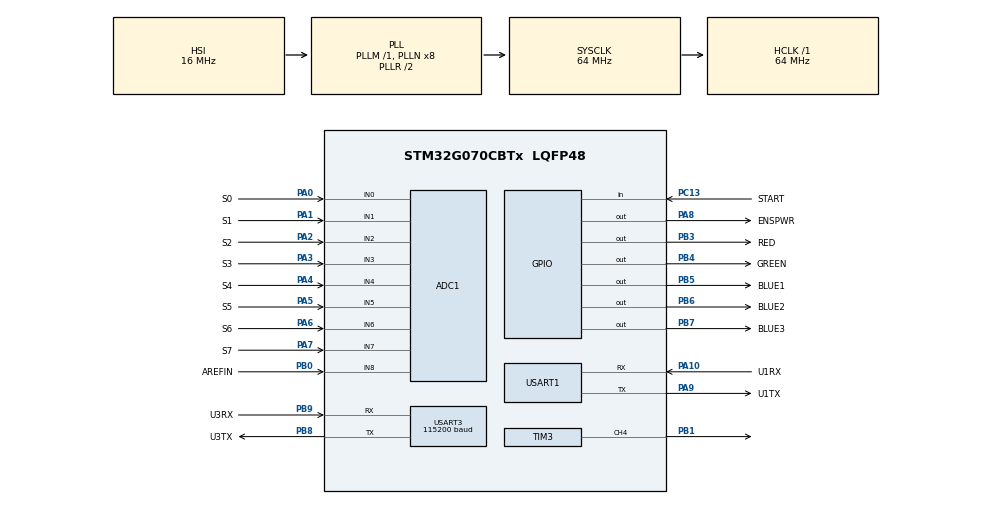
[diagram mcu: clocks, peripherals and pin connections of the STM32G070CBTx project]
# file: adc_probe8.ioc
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ADC1.Channel-0\#ChannelRegularConversion=ADC_CHANNEL_0
ADC1.Channel-1\#ChannelRegularConversion=ADC_CHANNEL_1
ADC1.Channel-2\#ChannelRegularConversion=ADC_CHANNEL_2
ADC1.Channel-3\#ChannelRegularConversion=ADC_CHANNEL_3
ADC1.Channel-4\#ChannelRegularConversion=ADC_CHANNEL_4
ADC1.Channel-5\#ChannelRegularConversion=ADC_CHANNEL_5
ADC1.Channel-6\#ChannelRegularConversion=ADC_CHANNEL_6
ADC1.Channel-7\#ChannelRegularConversion=ADC_CHANNEL_7
ADC1.ClockPrescaler=ADC_CLOCK_ASYNC_DIV4
ADC1.ContinuousConvMode=DISABLE
ADC1.DiscontinuousConvMode=DISABLE
ADC1.EOCSelection=ADC_EOC_SEQ_CONV
ADC1.NbrOfConversion=8
ADC1.NbrOfConversionFlag=1
ADC1.Overrun=ADC_OVR_DATA_PRESERVED
ADC1.Rank-0\#ChannelRegularConversion=1
ADC1.Rank-1\#ChannelRegularConversion=2
ADC1.Rank-2\#ChannelRegularConversion=3
ADC1.Rank-3\#ChannelRegularConversion=4
ADC1.Rank-4\#ChannelRegularConversion=5
ADC1.Rank-5\#ChannelRegularConversion=6
ADC1.Rank-6\#ChannelRegularConversion=7
ADC1.Rank-7\#ChannelRegularConversion=8
ADC1.SamplingTime-0\#ChannelRegularConversion=ADC_SAMPLINGTIME_COMMON_1
ADC1.SamplingTime-1\#ChannelRegularConversion=ADC_SAMPLINGTIME_COMMON_1
ADC1.SamplingTime-2\#ChannelRegularConversion=ADC_SAMPLINGTIME_COMMON_1
ADC1.SamplingTime-3\#ChannelRegularConversion=ADC_SAMPLINGTIME_COMMON_1
ADC1.SamplingTime-4\#ChannelRegularConversion=ADC_SAMPLINGTIME_COMMON_1
ADC1.SamplingTime-5\#ChannelRegularConversion=ADC_SAMPLINGTIME_COMMON_1
ADC1.SamplingTime-6\#ChannelRegularConversion=ADC_SAMPLINGTIME_COMMON_1
ADC1.SamplingTime-7\#ChannelRegularConversion=ADC_SAMPLINGTIME_COMMON_1
ADC1.SamplingTimeCommon1=ADC_SAMPLETIME_160CYCLES_5
ADC1.SelectedChannel=ADC_CHANNEL_0|ADC_CHANNEL_1|ADC_CHANNEL_2|ADC_CHANNEL_3|ADC_CHANNEL_4|ADC_CHANNEL_5|ADC_CHANNEL_6|ADC_CHANNEL_7|ADC_CHANNEL_TEMPSENSOR|ADC_CHANNEL_8
ADC1.Sequencer=FULLY_CONFIGURABLE
ADC1.master=1
Mcu.Family=STM32G0
Mcu.Name=STM32G070CBTx
Mcu.Package=LQFP48
NVIC.USART1_IRQn=true\:0\:0\:false\:false\:true\:true\:true\:true
NVIC.USART3_4_IRQn=true\:0\:0\:false\:false\:true\:true\:true\:true
PA0.GPIO_Label=S0
PA0.Mode=IN0
PA0.Signal=ADC1_IN0
PA1.GPIO_Label=S1
PA1.Mode=IN1
PA1.Signal=ADC1_IN1
PA10.GPIO_Label=U1RX
PA10.Mode=Asynchronous
PA10.Signal=USART1_RX
PA13.GPIO_Label=SWDIO
PA13.Mode=Serial_Wire
PA13.Signal=SYS_SWDIO
PA14-BOOT0.GPIO_Label=SWCLK_BT0
PA14-BOOT0.Mode=Serial_Wire
PA14-BOOT0.Signal=SYS_SWCLK
PA2.GPIO_Label=S2
PA2.Mode=IN2
PA2.Signal=ADC1_IN2
PA3.GPIO_Label=S3
PA3.Mode=IN3
PA3.Signal=ADC1_IN3
PA4.GPIO_Label=S4
PA4.Mode=IN4
PA4.Signal=ADC1_IN4
PA5.GPIO_Label=S5
PA5.Mode=IN5
PA5.Signal=ADC1_IN5
PA6.GPIO_Label=S6
PA6.Mode=IN6
PA6.Signal=ADC1_IN6
PA7.GPIO_Label=S7
PA7.Mode=IN7
PA7.Signal=ADC1_IN7
PA8.GPIO_Label=ENSPWR
PA8.Signal=GPIO_Output
PA9.GPIO_Label=U1TX
PA9.Mode=Asynchronous
PA9.Signal=USART1_TX
PB0.GPIO_Label=AREFIN
PB0.Mode=IN8
PB0.Signal=ADC1_IN8
PB1.Signal=S_TIM3_CH4
PB3.GPIO_Label=RED
PB3.Signal=GPIO_Output
PB4.GPIO_Label=GREEN
PB4.Signal=GPIO_Output
PB5.GPIO_Label=BLUE1
PB5.Signal=GPIO_Output
PB6.GPIO_Label=BLUE2
PB6.Signal=GPIO_Output
PB7.GPIO_Label=BLUE3
PB7.Signal=GPIO_Output
PB8.GPIO_Label=U3TX
PB8.Mode=Asynchronous
PB8.Signal=USART3_TX
PB9.GPIO_Label=U3RX
PB9.Mode=Asynchronous
PB9.Signal=USART3_RX
PC13.GPIO_Label=START
PC13.Signal=GPIO_Input
ProjectManager.HeapSize=0x200
ProjectManager.StackSize=0x400
ProjectManager.TargetToolchain=STM32CubeIDE
RCC.ADCFreq_Value=64000000
RCC.AHBFreq_Value=64000000
RCC.CortexFreq_Value=64000000
RCC.EXTERNAL_CLOCK_VALUE=48000
RCC.HCLKFreq_Value=64000000
RCC.HSE_VALUE=8000000
RCC.HSI_VALUE=16000000
RCC.LSE_VALUE=32768
RCC.PLLP=RCC_PLLP_DIV4
RCC.SYSCLKFreq_VALUE=64000000
RCC.SYSCLKSource=RCC_SYSCLKSOURCE_PLLCLK
RCC.VCOOutputFreq_Value=128000000
RCC.VDD_VALUE=3.1
SH.S_TIM3_CH4.0=TIM3_CH4,PWM Generation4 CH4
TIM3.Channel-PWM\ Generation4\ CH4=TIM_CHANNEL_4
USART1.VirtualMode-Asynchronous=VM_ASYNC
USART3.BaudRate=115200
USART3.VirtualMode-Asynchronous=VM_ASYNC
VP_ADC1_TempSens_Input.Mode=IN-TempSens
VP_CRC_VS_CRC.Mode=CRC_Activate
VP_SYS_VS_DBSignals.Mode=DisableDeadBatterySignals
board=custom

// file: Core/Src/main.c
/* USER CODE BEGIN Header */
/**
 ******************************************************************************
 * @file           : main.c
 * @brief          : Main program body
 ******************************************************************************
 * @attention
 *
 * Copyright (c) 2023 STMicroelectronics.
 * All rights reserved.
 *
 * This software is licensed under terms that can be found in the LICENSE file
 * in the root directory of this software component.
 * If no LICENSE file comes with this software, it is provided AS-IS.
 *
 ******************************************************************************
 */
/* USER CODE END Header */
#include "main.h"

/* USER CODE BEGIN Includes */
#include "utility.h"
#include <stdio.h>
#include <math.h>
#include "crc.h"
#include <string.h>
#include <stdarg.h>
/* USER CODE END Includes */

/* USER CODE BEGIN PD */
#define RX_BUFFER_SIZE 256	//Transmit buffer size
#define MAXBUFFER 256
#define ADC_SET_TIME 1

#define NUMSENSORS 8	//Number of sensors in a probe
#define RANGE_L -40                 // °C
#define RANGE_H 200                 // °C
#define BETA 3470                   // °K (Beta25/85)
#define NOMINAL_TEMPERATURE 298.15  // °K
#define INVALID_VAL 0xFF
#define AD_CORRECTION 0
#define AD_OFFSET 51
//------------------------------------------------
#define KSMOOTH 10

#define NUM_RAW_DATA		((SCOLUMNS) * (SROWS))
#define NUM_TO_COMBINE		(1)
#define NUM_TEMPERATURES	(NUM_RAW_DATA / NUM_TO_COMBINE)
#define TEMP_OFFSET 		(31)
//------------------------------------------------

/* USER CODE END PD */

ADC_HandleTypeDef hadc1;

CRC_HandleTypeDef hcrc;

TIM_HandleTypeDef htim3;

UART_HandleTypeDef huart1;
UART_HandleTypeDef huart3;

/* USER CODE BEGIN PV */

int adc_values[NUMSENSORS]; // Array to store values for NUMSENSORS channels
uint16_t temperatures_data[NUMSENSORS];
double NOMINAL_RESISTANCE = 10000.0;       // Nominal resistance at 25°C in ohms
double DIVIDER_RESISTANCE = 2200.0;       // Series resistor in ohms
double Vmeasured = 2.6;       // Voltage measured across the NTC in volts
double VREF = 3.335;             // ADC reference voltage in volts (assumed)
char tx_buffer[MAXBUFFER];
int rx_available;
char rx_buffer[RX_BUFFER_SIZE];

/* USER CODE END PV */

void SystemClock_Config(void);
static void MX_GPIO_Init(void);
static void MX_ADC1_Init(void);
static void MX_CRC_Init(void);
static void MX_USART1_UART_Init(void);
static void MX_USART3_UART_Init(void);
static void MX_TIM3_Init(void);

/* USER CODE BEGIN 0 */
void custom_printf(UART_HandleTypeDef *huart, const char *format, ...) {
    va_list args;
    va_start(args, format);

    char buffer[256]; // Adjust buffer size as needed

    // Format the string
    vsnprintf(buffer, sizeof(buffer), format, args);

    // Send the formatted string via UART
    HAL_UART_Transmit(huart, (uint8_t *)buffer, strlen(buffer), HAL_MAX_DELAY);

    va_end(args);
}

void calctemp() {
	// gets °C data from raw adc data
	for (int i = 0; i < NUMSENSORS; i++) {
		uint16_t value = adc_values[i] - AD_CORRECTION;
		double voltage = VREF / (double) 4096 * (value-AD_OFFSET);
		custom_printf(&huart3, "%03d,",adc_values[i]);
		double ntc_resistance = voltage / (VREF - voltage) * DIVIDER_RESISTANCE;
		double temperature = (double) ntc_resistance
				/ (double) NOMINAL_RESISTANCE;
		temperature = log(temperature);
		temperature /= BETA;
		temperature += 1.0 / NOMINAL_TEMPERATURE;
		temperature = 1.0 / temperature;
		temperature -= 273.15;

		if (temperature < RANGE_L || temperature > RANGE_H) {
			temperature = INVALID_VAL;
		}

		temperatures_data[i] = temperature;
	}
}

int echo_u1(uint8_t escape_char) {
	uint8_t karcsi = ' ';
	int counter = 0;
	while (!(karcsi == escape_char)) {
		if (HAL_UART_Receive(&huart1, (uint8_t*) &karcsi, 1, SHORT_TIMEOUT)
				== HAL_OK) {
			// Echo the received character back
			HAL_UART_Transmit(&huart1, (uint8_t*) &karcsi, 1, HAL_MAX_DELAY);
			TOGGLE(BLUE1);
			counter++;
		}
	}
	return counter;
}
int echo_u3(uint8_t escape_char) {
	uint8_t karcsi = ' ';
	int counter = 0;
	while (!(karcsi == escape_char)) {
		if (HAL_UART_Receive(&huart3, (uint8_t*) &karcsi, 1, SHORT_TIMEOUT)
				== HAL_OK) {
			// Echo the received character back
			HAL_UART_Transmit(&huart3, (uint8_t*) &karcsi, 1, HAL_MAX_DELAY);
			TOGGLE(BLUE2);
			counter++;
		}
	}
	return counter;
}
//-------------------------------------------------------
void select_adc_channel(int channel) {
	ADC_ChannelConfTypeDef sConfig = { 0 };
//////////    sConfig.SamplingTime = ADC_SAMPLETIME_19CYCLES_5;
	switch (channel) {
	case 0:
		sConfig.Channel = ADC_CHANNEL_0;
		break;
	case 1:
		sConfig.Channel = ADC_CHANNEL_1;
		break;
	case 2:
		sConfig.Channel = ADC_CHANNEL_2;
		break;
	case 3:
		sConfig.Channel = ADC_CHANNEL_3;
		break;
	case 4:
		sConfig.Channel = ADC_CHANNEL_4;
		break;
	case 5:
		sConfig.Channel = ADC_CHANNEL_5;
		break;
	case 6:
		sConfig.Channel = ADC_CHANNEL_6;
		break;
	case 7:
		sConfig.Channel = ADC_CHANNEL_7;
		break;
	default:
		sConfig.Channel = ADC_CHANNEL_TEMPSENSOR;
	}
	sConfig.Rank = ADC_REGULAR_RANK_1;
	sConfig.SamplingTime = ADC_SAMPLINGTIME_COMMON_1;
	if (HAL_ADC_ConfigChannel(&hadc1, &sConfig) != HAL_OK) {
		Error_Handler();
	}
}
//----------------------------------------------

void convert() {
	int p;

	for (p = 0; p < NUMSENSORS; p++) {
		select_adc_channel(p);
		if (HAL_ADC_Start(&hadc1) != HAL_OK) {
			Error_Handler();
		}
		if (HAL_ADC_PollForConversion(&hadc1, HAL_MAX_DELAY) != HAL_OK) {
			Error_Handler();
		}
		adc_values[p] = HAL_ADC_GetValue(&hadc1);
		HAL_ADC_Stop(&hadc1);

	}
}

//--------------------------------------------------------
void sendDataCal() {
	uint8_t packet_len = NUMSENSORS * 2;
	uint8_t packet[packet_len];
	for (int s = 0; s < NUMSENSORS; s++) {
		packet[s * 2 + 1] = temperatures_data[s] & 0xFF;
		packet[s * 2] = temperatures_data[s] >> 8;
	}

	uint16_t crc = calculateCRC16(packet, NUMSENSORS * 2);
	packet[packet_len - 2] = crc >> 8;
	packet[packet_len - 1] = crc & 0xFF;
	HAL_UART_Transmit(&huart3, packet, packet_len, 10);
}

//---------------------------------------------------
/* USER CODE END 0 */

int main(void)
{

  /* USER CODE BEGIN 1 */
int length=0;
  /* USER CODE END 1 */

  /* MCU Configuration--------------------------------------------------------*/

  /* Reset of all peripherals, Initializes the Flash interface and the Systick. */
  HAL_Init();

  /* Configure the system clock */
  SystemClock_Config();

  /* Initialize all configured peripherals */
  MX_GPIO_Init();
  MX_ADC1_Init();
  MX_CRC_Init();
  MX_USART1_UART_Init();
  MX_USART3_UART_Init();
  MX_TIM3_Init();
  /* USER CODE BEGIN 2 */
	test_leds();
	ON(ENSPWR);
	HAL_Delay(100);
	convert();
	calctemp();
	convert();
	calctemp();

  /* USER CODE END 2 */

  /* Infinite loop */
  /* USER CODE BEGIN WHILE */
	while (1) {
		convert();
//	  msglength=sprintf(tx_buffer,"ADC %04d,%04d,%04d,%04d,%04d,%04d,%04d,%04d \r\n",adc_values[0],adc_values[1],adc_values[2],adc_values[3],adc_values[4],adc_values[5],adc_values[6],adc_values[7]);
//	  HAL_UART_Transmit(&huart3, (uint8_t *) tx_buffer,msglength, 100);
		calctemp();
//	  msglength=sprintf(tx_buffer,"TMP %04d,%04d,%04d,%04d,%04d,%04d,%04d,%04d \r\n",temperatures_data[0],temperatures_data[1],temperatures_data[2],temperatures_data[3],temperatures_data[4],temperatures_data[5],temperatures_data[6],temperatures_data[7]);
//	  HAL_UART_Transmit(&huart3, (uint8_t *) tx_buffer,msglength, 100);
//------------------------------------------------------------------------
		// wait for rising edge
		//while (HAL_GPIO_ReadPin(START_GPIO_Port, START_Pin))
			;
		ON(GREEN);
//		read_all_sensors();	//ezt megteszi a convert()
		/* ez mar mukodott
		 for (int i = 0; i < NUM_RAW_DATA; i++){

		 adc_cal[i*2] = raw_adc_data[i] >> 8;

		 adc_cal[i*2 + 1] = raw_adc_data[i] & 0xFF;

		 }*//*
		 for (int i = 0; i < NUM_RAW_DATA; i++){

		 adc_cal[i*2] = calculated_temperatures[i] >> 8;

		 adc_cal[i*2 + 1] = calculated_temperatures[i] & 0xFF;

		 }
		 //memcpy(adc_cal,raw_adc_data,NUM_RAW_DATA*2);
		 // fill temperatures buffer
		 //fillTemp();

		 // send
		 //sendData();
		 */
		//sendDataCal();
		length=sprintf(tx_buffer,"%03d,%03d,%03d,%03d,%03d,%03d,%03d,%03d \r\n", temperatures_data[0], temperatures_data[1], temperatures_data[2], temperatures_data[3], temperatures_data[4], temperatures_data[5], temperatures_data[6], temperatures_data[7]);
		HAL_UART_Transmit(&huart3, (uint8_t*)tx_buffer, length, 20);
		OFF(GREEN);
		// wait for falling edge
		//while (!HAL_GPIO_ReadPin(START_GPIO_Port, START_Pin));
		HAL_Delay(1000);

//------------------------------------------------------------------------
		HAL_Delay(100);
    /* USER CODE END WHILE */

	}
}

void SystemClock_Config(void)
{
  RCC_OscInitTypeDef RCC_OscInitStruct = {0};
  RCC_ClkInitTypeDef RCC_ClkInitStruct = {0};

  /** Configure the main internal regulator output voltage
  */
  HAL_PWREx_ControlVoltageScaling(PWR_REGULATOR_VOLTAGE_SCALE1);

  /** Initializes the RCC Oscillators according to the specified parameters
  * in the RCC_OscInitTypeDef structure.
  */
  RCC_OscInitStruct.OscillatorType = RCC_OSCILLATORTYPE_HSI;
  RCC_OscInitStruct.HSIState = RCC_HSI_ON;
  RCC_OscInitStruct.HSIDiv = RCC_HSI_DIV1;
  RCC_OscInitStruct.HSICalibrationValue = RCC_HSICALIBRATION_DEFAULT;
  RCC_OscInitStruct.PLL.PLLState = RCC_PLL_ON;
  RCC_OscInitStruct.PLL.PLLSource = RCC_PLLSOURCE_HSI;
  RCC_OscInitStruct.PLL.PLLM = RCC_PLLM_DIV1;
  RCC_OscInitStruct.PLL.PLLN = 8;
  RCC_OscInitStruct.PLL.PLLP = RCC_PLLP_DIV4;
  RCC_OscInitStruct.PLL.PLLR = RCC_PLLR_DIV2;
  if (HAL_RCC_OscConfig(&RCC_OscInitStruct) != HAL_OK)
  {
    Error_Handler();
  }

  /** Initializes the CPU, AHB and APB buses clocks
  */
  RCC_ClkInitStruct.ClockType = RCC_CLOCKTYPE_HCLK|RCC_CLOCKTYPE_SYSCLK
                              |RCC_CLOCKTYPE_PCLK1;
  RCC_ClkInitStruct.SYSCLKSource = RCC_SYSCLKSOURCE_PLLCLK;
  RCC_ClkInitStruct.AHBCLKDivider = RCC_SYSCLK_DIV1;
  RCC_ClkInitStruct.APB1CLKDivider = RCC_HCLK_DIV1;

  if (HAL_RCC_ClockConfig(&RCC_ClkInitStruct, FLASH_LATENCY_2) != HAL_OK)
  {
    Error_Handler();
  }
}

static void MX_ADC1_Init(void)
{

  ADC_ChannelConfTypeDef sConfig = {0};

  /** Configure the global features of the ADC (Clock, Resolution, Data Alignment and number of conversion)
  */
  hadc1.Instance = ADC1;
  hadc1.Init.ClockPrescaler = ADC_CLOCK_ASYNC_DIV4;
  hadc1.Init.Resolution = ADC_RESOLUTION_12B;
  hadc1.Init.DataAlign = ADC_DATAALIGN_RIGHT;
  hadc1.Init.ScanConvMode = ADC_SCAN_ENABLE;
  hadc1.Init.EOCSelection = ADC_EOC_SEQ_CONV;
  hadc1.Init.LowPowerAutoWait = DISABLE;
  hadc1.Init.LowPowerAutoPowerOff = DISABLE;
  hadc1.Init.ContinuousConvMode = DISABLE;
  hadc1.Init.NbrOfConversion = 8;
  hadc1.Init.DiscontinuousConvMode = DISABLE;
  hadc1.Init.ExternalTrigConv = ADC_SOFTWARE_START;
  hadc1.Init.ExternalTrigConvEdge = ADC_EXTERNALTRIGCONVEDGE_NONE;
  hadc1.Init.DMAContinuousRequests = DISABLE;
  hadc1.Init.Overrun = ADC_OVR_DATA_PRESERVED;
  hadc1.Init.SamplingTimeCommon1 = ADC_SAMPLETIME_160CYCLES_5;
  hadc1.Init.SamplingTimeCommon2 = ADC_SAMPLETIME_1CYCLE_5;
  hadc1.Init.OversamplingMode = DISABLE;
  hadc1.Init.TriggerFrequencyMode = ADC_TRIGGER_FREQ_HIGH;
  if (HAL_ADC_Init(&hadc1) != HAL_OK)
  {
    Error_Handler();
  }

  /** Configure Regular Channel
  */
  sConfig.Channel = ADC_CHANNEL_0;
  sConfig.Rank = ADC_REGULAR_RANK_1;
  sConfig.SamplingTime = ADC_SAMPLINGTIME_COMMON_1;
  if (HAL_ADC_ConfigChannel(&hadc1, &sConfig) != HAL_OK)
  {
    Error_Handler();
  }

  /** Configure Regular Channel
  */
  sConfig.Channel = ADC_CHANNEL_1;
  sConfig.Rank = ADC_REGULAR_RANK_2;
  if (HAL_ADC_ConfigChannel(&hadc1, &sConfig) != HAL_OK)
  {
    Error_Handler();
  }

  /** Configure Regular Channel
  */
  sConfig.Channel = ADC_CHANNEL_2;
  sConfig.Rank = ADC_REGULAR_RANK_3;
  if (HAL_ADC_ConfigChannel(&hadc1, &sConfig) != HAL_OK)
  {
    Error_Handler();
  }

  /** Configure Regular Channel
  */
  sConfig.Channel = ADC_CHANNEL_3;
  sConfig.Rank = ADC_REGULAR_RANK_4;
  if (HAL_ADC_ConfigChannel(&hadc1, &sConfig) != HAL_OK)
  {
    Error_Handler();
  }

  /** Configure Regular Channel
  */
  sConfig.Channel = ADC_CHANNEL_4;
  sConfig.Rank = ADC_REGULAR_RANK_5;
  if (HAL_ADC_ConfigChannel(&hadc1, &sConfig) != HAL_OK)
  {
    Error_Handler();
  }

  /** Configure Regular Channel
  */
  sConfig.Channel = ADC_CHANNEL_5;
  sConfig.Rank = ADC_REGULAR_RANK_6;
  if (HAL_ADC_ConfigChannel(&hadc1, &sConfig) != HAL_OK)
  {
    Error_Handler();
  }

  /** Configure Regular Channel
  */
  sConfig.Channel = ADC_CHANNEL_6;
  sConfig.Rank = ADC_REGULAR_RANK_7;
  if (HAL_ADC_ConfigChannel(&hadc1, &sConfig) != HAL_OK)
  {
    Error_Handler();
  }

  /** Configure Regular Channel
  */
  sConfig.Channel = ADC_CHANNEL_7;
  sConfig.Rank = ADC_REGULAR_RANK_8;
  if (HAL_ADC_ConfigChannel(&hadc1, &sConfig) != HAL_OK)
  {
    Error_Handler();
  }

}

static void MX_CRC_Init(void)
{

  hcrc.Instance = CRC;
  hcrc.Init.DefaultPolynomialUse = DEFAULT_POLYNOMIAL_ENABLE;
  hcrc.Init.DefaultInitValueUse = DEFAULT_INIT_VALUE_ENABLE;
  hcrc.Init.InputDataInversionMode = CRC_INPUTDATA_INVERSION_NONE;
  hcrc.Init.OutputDataInversionMode = CRC_OUTPUTDATA_INVERSION_DISABLE;
  hcrc.InputDataFormat = CRC_INPUTDATA_FORMAT_BYTES;
  if (HAL_CRC_Init(&hcrc) != HAL_OK)
  {
    Error_Handler();
  }

}

static void MX_TIM3_Init(void)
{

  TIM_MasterConfigTypeDef sMasterConfig = {0};
  TIM_OC_InitTypeDef sConfigOC = {0};

  htim3.Instance = TIM3;
  htim3.Init.Prescaler = 0;
  htim3.Init.CounterMode = TIM_COUNTERMODE_UP;
  htim3.Init.Period = 65535;
  htim3.Init.ClockDivision = TIM_CLOCKDIVISION_DIV1;
  htim3.Init.AutoReloadPreload = TIM_AUTORELOAD_PRELOAD_DISABLE;
  if (HAL_TIM_PWM_Init(&htim3) != HAL_OK)
  {
    Error_Handler();
  }
  sMasterConfig.MasterOutputTrigger = TIM_TRGO_RESET;
  sMasterConfig.MasterSlaveMode = TIM_MASTERSLAVEMODE_DISABLE;
  if (HAL_TIMEx_MasterConfigSynchronization(&htim3, &sMasterConfig) != HAL_OK)
  {
    Error_Handler();
  }
  sConfigOC.OCMode = TIM_OCMODE_PWM1;
  sConfigOC.Pulse = 0;
  sConfigOC.OCPolarity = TIM_OCPOLARITY_HIGH;
  sConfigOC.OCFastMode = TIM_OCFAST_DISABLE;
  if (HAL_TIM_PWM_ConfigChannel(&htim3, &sConfigOC, TIM_CHANNEL_4) != HAL_OK)
  {
    Error_Handler();
  }
  HAL_TIM_MspPostInit(&htim3);

}

static void MX_USART1_UART_Init(void)
{

  huart1.Instance = USART1;
  huart1.Init.BaudRate = 115200;
  huart1.Init.WordLength = UART_WORDLENGTH_8B;
  huart1.Init.StopBits = UART_STOPBITS_1;
  huart1.Init.Parity = UART_PARITY_NONE;
  huart1.Init.Mode = UART_MODE_TX_RX;
  huart1.Init.HwFlowCtl = UART_HWCONTROL_NONE;
  huart1.Init.OverSampling = UART_OVERSAMPLING_16;
  huart1.Init.OneBitSampling = UART_ONE_BIT_SAMPLE_DISABLE;
  huart1.Init.ClockPrescaler = UART_PRESCALER_DIV1;
  huart1.AdvancedInit.AdvFeatureInit = UART_ADVFEATURE_NO_INIT;
  if (HAL_UART_Init(&huart1) != HAL_OK)
  {
    Error_Handler();
  }
  if (HAL_UARTEx_SetTxFifoThreshold(&huart1, UART_TXFIFO_THRESHOLD_1_8) != HAL_OK)
  {
    Error_Handler();
  }
  if (HAL_UARTEx_SetRxFifoThreshold(&huart1, UART_RXFIFO_THRESHOLD_1_8) != HAL_OK)
  {
    Error_Handler();
  }
  if (HAL_UARTEx_DisableFifoMode(&huart1) != HAL_OK)
  {
    Error_Handler();
  }

}

static void MX_USART3_UART_Init(void)
{

  huart3.Instance = USART3;
  huart3.Init.BaudRate = 115200;
  huart3.Init.WordLength = UART_WORDLENGTH_8B;
  huart3.Init.StopBits = UART_STOPBITS_1;
  huart3.Init.Parity = UART_PARITY_NONE;
  huart3.Init.Mode = UART_MODE_TX_RX;
  huart3.Init.HwFlowCtl = UART_HWCONTROL_NONE;
  huart3.Init.OverSampling = UART_OVERSAMPLING_16;
  huart3.Init.OneBitSampling = UART_ONE_BIT_SAMPLE_DISABLE;
  huart3.Init.ClockPrescaler = UART_PRESCALER_DIV1;
  huart3.AdvancedInit.AdvFeatureInit = UART_ADVFEATURE_NO_INIT;
  if (HAL_UART_Init(&huart3) != HAL_OK)
  {
    Error_Handler();
  }

}

static void MX_GPIO_Init(void)
{
  GPIO_InitTypeDef GPIO_InitStruct = {0};

  /* GPIO Ports Clock Enable */
  __HAL_RCC_GPIOC_CLK_ENABLE();
  __HAL_RCC_GPIOA_CLK_ENABLE();
  __HAL_RCC_GPIOB_CLK_ENABLE();

  /*Configure GPIO pin Output Level */
  HAL_GPIO_WritePin(ENSPWR_GPIO_Port, ENSPWR_Pin, GPIO_PIN_RESET);

  /*Configure GPIO pin Output Level */
  HAL_GPIO_WritePin(GPIOB, RED_Pin|GREEN_Pin|BLUE1_Pin|BLUE2_Pin
                          |BLUE3_Pin, GPIO_PIN_RESET);

  /*Configure GPIO pin : START_Pin */
  GPIO_InitStruct.Pin = START_Pin;
  GPIO_InitStruct.Mode = GPIO_MODE_INPUT;
  GPIO_InitStruct.Pull = GPIO_NOPULL;
  HAL_GPIO_Init(START_GPIO_Port, &GPIO_InitStruct);

  /*Configure GPIO pin : ENSPWR_Pin */
  GPIO_InitStruct.Pin = ENSPWR_Pin;
  GPIO_InitStruct.Mode = GPIO_MODE_OUTPUT_PP;
  GPIO_InitStruct.Pull = GPIO_NOPULL;
  GPIO_InitStruct.Speed = GPIO_SPEED_FREQ_LOW;
  HAL_GPIO_Init(ENSPWR_GPIO_Port, &GPIO_InitStruct);

  /*Configure GPIO pins : RED_Pin GREEN_Pin BLUE1_Pin BLUE2_Pin
                           BLUE3_Pin */
  GPIO_InitStruct.Pin = RED_Pin|GREEN_Pin|BLUE1_Pin|BLUE2_Pin
                          |BLUE3_Pin;
  GPIO_InitStruct.Mode = GPIO_MODE_OUTPUT_PP;
  GPIO_InitStruct.Pull = GPIO_NOPULL;
  GPIO_InitStruct.Speed = GPIO_SPEED_FREQ_LOW;
  HAL_GPIO_Init(GPIOB, &GPIO_InitStruct);

}

void Error_Handler(void)
{
	__disable_irq();
	while (1) {
	}
}
